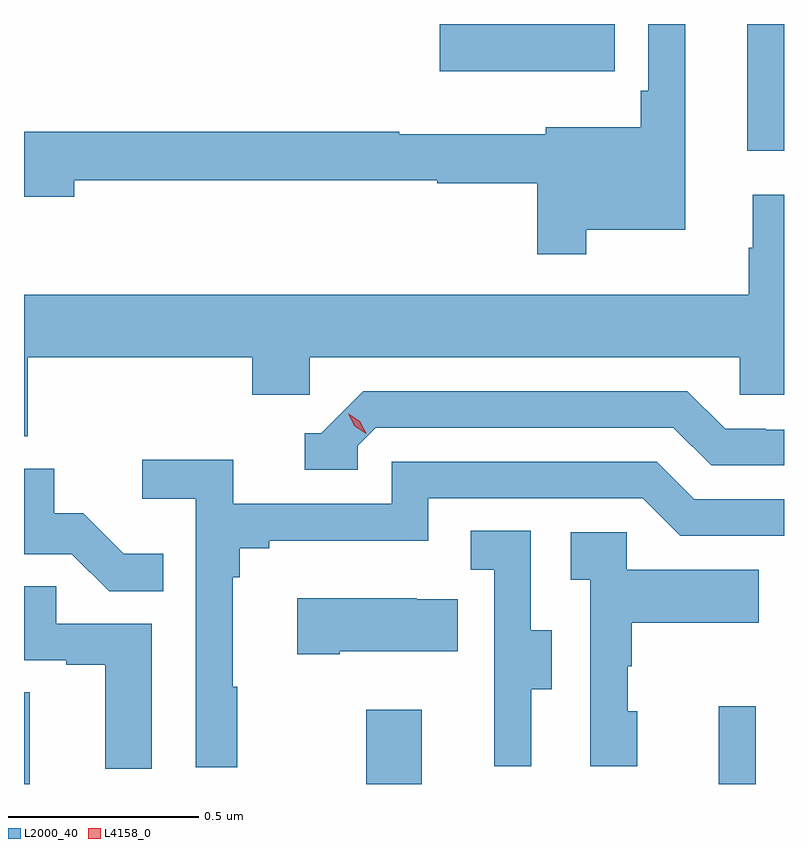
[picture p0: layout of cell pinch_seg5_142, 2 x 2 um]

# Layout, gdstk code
import gdstk
lib = gdstk.Library(unit=1e-6, precision=1e-09)
def R(c, l, rs):  # rectangles x0, y0, x1, y1
    for r in rs: c.add(gdstk.rectangle(r[:2], r[2:], *l))
def P(c, l, *ps):  # polygons
    for p in ps: c.add(gdstk.Polygon(p, *l))
L2000_40 = (2000, 40)
L4158_0 = (4158, 0)

pinch_seg5_142 = lib.new_cell('pinch_seg5_142')
R(pinch_seg5_142, L2000_40, [(1053.37,886.273,1053.385,886.514), (1054.27,886.273,1054.417,886.468), (1055.198,886.273,1055.295,886.477), (1055.273,887.939,1055.37,888.273), (1054.464,888.149,1054.924,888.273)])
P(pinch_seg5_142, L2000_40, [(1054.849,887.732),(1055.11,887.732),(1055.11,888.273),(1055.013,888.273),(1055.013,888.097),(1054.993,888.097),(1054.993,888.001),(1054.743,888.001),(1054.743,887.983),(1054.358,887.983),(1054.358,887.99),(1053.37,887.99),(1053.37,887.819),(1053.502,887.819),(1053.502,887.862),(1054.458,887.862),(1054.458,887.854),(1054.72,887.854),(1054.72,887.667),(1054.849,887.667)],
  [(1053.38,887.396),(1053.971,887.396),(1053.971,887.298),(1054.122,887.298),(1054.122,887.396),(1055.253,887.396),(1055.253,887.298),(1055.37,887.298),(1055.37,887.824),(1055.288,887.824),(1055.288,887.684),(1055.277,887.684),(1055.277,887.56),(1053.37,887.56),(1053.37,887.188),(1053.38,887.188)],
  [(1054.248,887.163),(1054.296,887.211),(1055.079,887.211),(1055.178,887.112),(1055.37,887.112),(1055.37,887.205),(1055.322,887.205),(1055.322,887.208),(1055.215,887.208),(1055.116,887.307),(1054.263,887.307),(1054.152,887.196),(1054.109,887.196),(1054.109,887.1),(1054.248,887.1)],
  [(1053.931,886.529),(1053.919,886.529),(1053.919,886.817),(1053.938,886.817),(1053.938,886.894),(1054.015,886.894),(1054.015,886.913),(1054.434,886.913),(1054.434,887.025),(1054.998,887.025),(1055.097,886.926),(1055.37,886.926),(1055.37,887.022),(1055.134,887.022),(1055.035,887.121),(1054.338,887.121),(1054.338,887.01),(1053.92,887.01),(1053.92,887.126),(1053.681,887.126),(1053.681,887.024),(1053.822,887.024),(1053.822,886.317),(1053.931,886.317)],
  [(1053.737,886.879),(1053.633,886.879),(1053.526,886.986),(1053.45,886.986),(1053.45,887.103),(1053.37,887.103),(1053.37,886.878),(1053.496,886.878),(1053.594,886.78),(1053.737,886.78)],
  [(1054.705,886.522),(1054.759,886.522),(1054.759,886.677),(1054.704,886.677),(1054.704,886.94),(1054.545,886.94),(1054.545,886.837),(1054.608,886.837),(1054.608,886.533),(1054.607,886.533),(1054.607,886.32),(1054.705,886.32)],
  [(1054.984,886.464),(1054.959,886.464),(1054.959,886.583),(1054.969,886.583),(1054.969,886.697),(1055.303,886.697),(1055.303,886.837),(1054.956,886.837),(1054.956,886.935),(1054.809,886.935),(1054.809,886.811),(1054.86,886.811),(1054.86,886.32),(1054.984,886.32)],
  [(1053.706,886.695),(1053.455,886.695),(1053.455,886.793),(1053.37,886.793),(1053.37,886.599),(1053.481,886.599),(1053.481,886.587),(1053.584,886.587),(1053.584,886.313),(1053.706,886.313)],
  [(1054.201,886.622),(1054.511,886.622),(1054.511,886.759),(1054.403,886.759),(1054.403,886.762),(1054.089,886.762),(1054.089,886.615),(1054.201,886.615)])
P(pinch_seg5_142, L4158_0, [(1054.27,887.195),(1054.24,887.215),(1054.223,887.248),(1054.223,887.248),(1054.224,887.248),(1054.254,887.228),(1054.271,887.196),(1054.271,887.195)])

lib.write_gds('pinch_seg5_142.gds')
